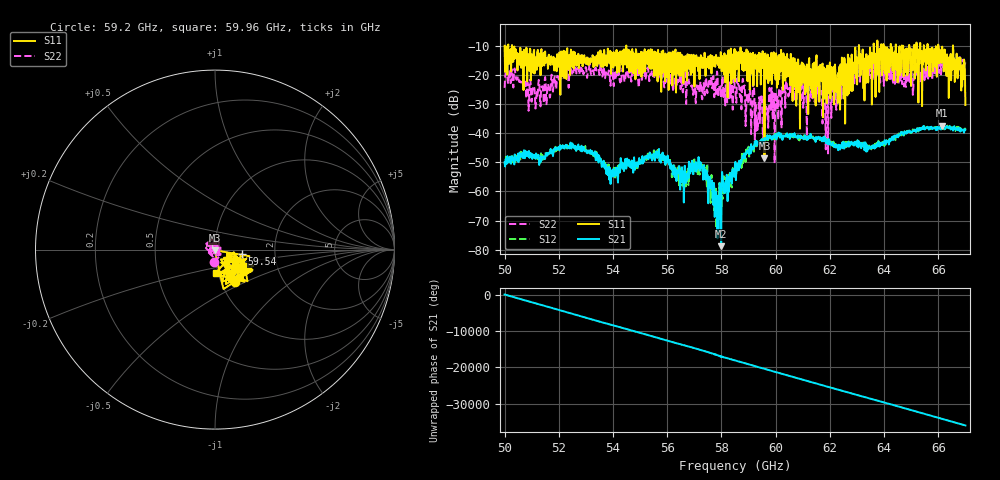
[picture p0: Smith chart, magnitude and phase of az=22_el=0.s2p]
!Created with skrf (http://scikit-rf.org).
# GHz S RI R 50.0
!freq ReS11 ImS11 ReS21 ImS21 ReS12 ImS12 ReS22 ImS22
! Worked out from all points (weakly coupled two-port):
!   1001 points, 50 GHz to 67 GHz, reference 50 ohm
!   highest |S21| = -37.48 dB at 66.15 GHz (marker M1); lowest = -78.7 dB at 57.99 GHz (marker M2)
!   lowest |S11| = -48.6 dB at 59.59 GHz (marker M3), VSWR 1.01, Z = 49.9 - j0.35 ohm
!   |S11| at or under -10 dB: 50.27 GHz to 63.07 GHz (12.8 GHz wide, 22.6 % of centre); 63.07 GHz to 63.62 GHz (540.9 MHz wide, 0.854 % of centre); 66 GHz to 66.54 GHz (537.8 MHz wide, 0.812 % of centre) (the widest 3 of 19)
!   |S22| runs from -50.3 to -14.0 dB; largest |S21 - S12| = 0.0021
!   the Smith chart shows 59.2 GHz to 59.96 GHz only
!   S11 on the Smith chart (normalised r, x): 59.2 GHz: 1.16, -0.43; 59.54 GHz: 1.35, -0.07; 59.96 GHz: 0.98, -0.26
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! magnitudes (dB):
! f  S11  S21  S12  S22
! 50 GHz  -10.1  -50.0  -49.9  -24.5
! 51.07 GHz  -12.3  -48.2  -48.7  -23.9
! 52.84 GHz  -14.2  -44.3  -44.6  -18.8
! 53.99 GHz  -13.3  -54.9  -52.9  -20.5
! 55.68 GHz  -13.5  -46.8  -46.8  -21.9
! 56.55 GHz  -18.1  -51.7  -57.9  -21.6
! 57.23 GHz  -14.6  -49.9  -51.2  -22.4
! 57.91 GHz  -15.4  -63.6  -64.7  -23.8
! 57.99 GHz  -13.9  -78.7  -66.4  -28.1
! 58.5 GHz  -22.3  -50.3  -55.4  -25.4
! 59.2 GHz  -13.6  -45.3  -46.4  -23.2
! 59.54 GHz  -16.3  -44.3  -43.0  -43.2
! 59.59 GHz  -48.6  -41.7  -42.8  -29.4
! 59.96 GHz  -17.7  -40.9  -39.8  -50.3
! 60.64 GHz  -14.2  -40.3  -40.4  -22.5
! 61.34 GHz  -26.2  -41.5  -42.1  -25.4
! 61.88 GHz  -29.8  -43.1  -42.0  -23.1
! 62.61 GHz  -20.2  -44.6  -44.8  -20.7
! 64.18 GHz  -19.2  -43.9  -42.5  -18.0
! 66.15 GHz  -10.4  -37.5  -38.3  -14.4
! 66.75 GHz  -18.2  -39.1  -38.2  -18.3
! 67 GHz  -30.4  -38.8  -38.6  -15.8
